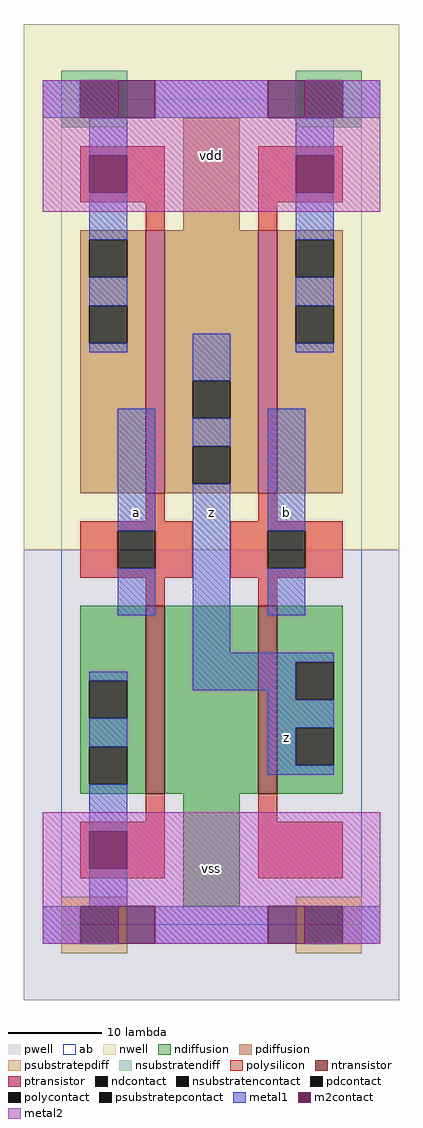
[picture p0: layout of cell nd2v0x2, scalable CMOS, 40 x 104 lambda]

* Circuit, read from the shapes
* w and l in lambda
.subckt nd2v0x2 a b vdd vss z
M1 n1 a vss vss nfet w=20 l=2
M2 z b n1 vss nfet w=20 l=2
M3 z a vdd vdd pfet w=28 l=2
M4 vdd b z vdd pfet w=28 l=2
.ends

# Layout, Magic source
magic
tech scmos
<< ab >>
rect 0 0 32 88
<< pwell >>
rect -4 -8 36 40
<< nwell >>
rect -4 40 36 96
<< polysilicon >>
rect 2 77 11 83
rect 9 74 11 77
rect 21 77 30 83
rect 21 74 23 77
rect 9 43 11 46
rect 21 43 23 46
rect 2 42 14 43
rect 2 38 6 42
rect 10 38 14 42
rect 2 37 14 38
rect 18 42 30 43
rect 18 38 22 42
rect 26 38 30 42
rect 18 37 30 38
rect 9 34 11 37
rect 21 34 23 37
rect 9 11 11 14
rect 2 5 11 11
rect 21 11 23 14
rect 21 5 30 11
<< ndiffusion >>
rect 2 26 9 34
rect 2 22 3 26
rect 7 22 9 26
rect 2 19 9 22
rect 2 15 3 19
rect 7 15 9 19
rect 2 14 9 15
rect 11 14 21 34
rect 23 28 30 34
rect 23 24 25 28
rect 29 24 30 28
rect 23 21 30 24
rect 23 17 25 21
rect 29 17 30 21
rect 23 14 30 17
rect 13 2 19 14
<< pdiffusion >>
rect 13 74 19 86
rect 2 73 9 74
rect 2 69 3 73
rect 7 69 9 73
rect 2 66 9 69
rect 2 62 3 66
rect 7 62 9 66
rect 2 46 9 62
rect 11 58 21 74
rect 11 54 14 58
rect 18 54 21 58
rect 11 51 21 54
rect 11 47 14 51
rect 18 47 21 51
rect 11 46 21 47
rect 23 73 30 74
rect 23 69 25 73
rect 29 69 30 73
rect 23 66 30 69
rect 23 62 25 66
rect 29 62 30 66
rect 23 46 30 62
<< metal1 >>
rect -2 86 2 90
rect 10 86 22 90
rect 30 86 34 90
rect 3 82 7 86
rect 3 73 7 78
rect 3 66 7 69
rect 25 82 29 86
rect 25 73 29 78
rect 25 66 29 69
rect 3 61 7 62
rect 14 58 18 63
rect 25 61 29 62
rect 6 42 10 55
rect 6 33 10 38
rect 14 51 18 54
rect 14 29 18 47
rect 22 42 26 55
rect 22 33 26 38
rect 14 28 29 29
rect 3 26 7 27
rect 14 25 25 28
rect 3 19 7 22
rect 22 24 25 25
rect 22 21 29 24
rect 22 17 25 21
rect 22 16 29 17
rect 3 10 7 15
rect 3 2 7 6
rect -2 -2 2 2
rect 10 -2 22 2
rect 30 -2 34 2
<< metal2 >>
rect -2 86 6 90
rect 10 86 22 90
rect 26 86 34 90
rect -2 82 34 86
rect -2 78 3 82
rect 7 78 25 82
rect 29 78 34 82
rect -2 76 34 78
rect -2 10 34 12
rect -2 6 3 10
rect 7 6 34 10
rect -2 2 34 6
rect -2 -2 6 2
rect 10 -2 22 2
rect 26 -2 34 2
<< ntransistor >>
rect 9 14 11 34
rect 21 14 23 34
<< ptransistor >>
rect 9 46 11 74
rect 21 46 23 74
<< polycontact >>
rect 6 38 10 42
rect 22 38 26 42
<< ndcontact >>
rect 3 22 7 26
rect 3 15 7 19
rect 25 24 29 28
rect 25 17 29 21
<< pdcontact >>
rect 3 69 7 73
rect 3 62 7 66
rect 14 54 18 58
rect 14 47 18 51
rect 25 69 29 73
rect 25 62 29 66
<< m2contact >>
rect 6 86 10 90
rect 22 86 26 90
rect 3 78 7 82
rect 25 78 29 82
rect 3 6 7 10
rect 6 -2 10 2
rect 22 -2 26 2
<< psubstratepcontact >>
rect 2 -2 6 2
rect 26 -2 30 2
<< nsubstratencontact >>
rect 2 86 6 90
rect 26 86 30 90
<< psubstratepdiff >>
rect 0 2 7 3
rect 25 2 32 3
rect 0 -2 2 2
rect 6 -2 7 2
rect 0 -3 7 -2
rect 25 -2 26 2
rect 30 -2 32 2
rect 25 -3 32 -2
<< nsubstratendiff >>
rect 0 90 7 91
rect 0 86 2 90
rect 6 86 7 90
rect 25 90 32 91
rect 25 86 26 90
rect 30 86 32 90
rect 0 85 7 86
rect 25 85 32 86
<< labels >>
rlabel metal1 8 44 8 44 6 a
rlabel metal1 16 44 16 44 6 z
rlabel metal1 24 20 24 20 6 z
rlabel metal1 24 44 24 44 6 b
rlabel metal2 16 6 16 6 6 vss
rlabel metal2 16 82 16 82 6 vdd
<< end >>
